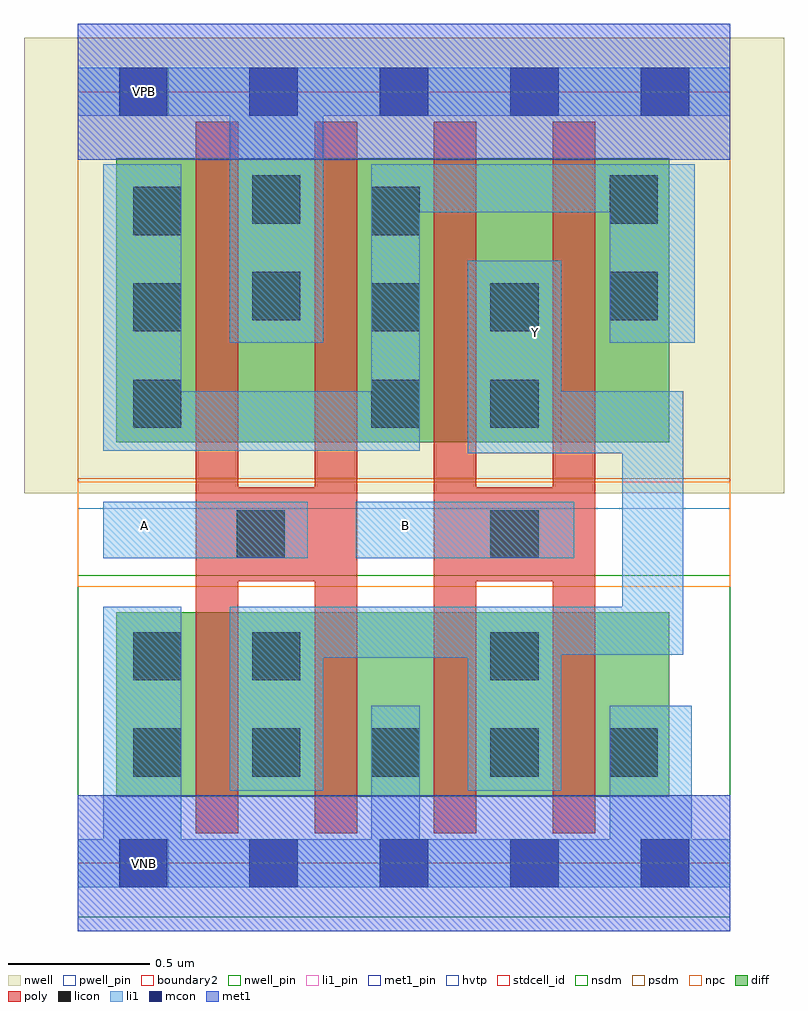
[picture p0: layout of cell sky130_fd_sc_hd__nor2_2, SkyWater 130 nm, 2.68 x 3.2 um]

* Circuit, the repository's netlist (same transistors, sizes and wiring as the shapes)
* Copyright 2020 The SkyWater PDK Authors
*
* Licensed under the Apache License, Version 2.0 (the "License");
* you may not use this file except in compliance with the License.
* You may obtain a copy of the License at
*
*     https://www.apache.org/licenses/LICENSE-2.0
*
* Unless required by applicable law or agreed to in writing, software
* distributed under the License is distributed on an "AS IS" BASIS,
* WITHOUT WARRANTIES OR CONDITIONS OF ANY KIND, either express or implied.
* See the License for the specific language governing permissions and
* limitations under the License.
*
* SPDX-License-Identifier: Apache-2.0


.subckt sky130_fd_sc_hd__nor2_2 A B VGND VNB VPB VPWR Y
X0 Y B VGND VNB sky130_fd_pr__nfet_01v8 w=650000u l=150000u
X1 VPWR A a_27_297# VPB sky130_fd_pr__pfet_01v8_hvt w=1 l=150000u
X2 Y B a_27_297# VPB sky130_fd_pr__pfet_01v8_hvt w=1 l=150000u
X3 VGND B Y VNB sky130_fd_pr__nfet_01v8 w=650000u l=150000u
X4 a_27_297# B Y VPB sky130_fd_pr__pfet_01v8_hvt w=1 l=150000u
X5 a_27_297# A VPWR VPB sky130_fd_pr__pfet_01v8_hvt w=1 l=150000u
X6 VGND A Y VNB sky130_fd_pr__nfet_01v8 w=650000u l=150000u
X7 Y A VGND VNB sky130_fd_pr__nfet_01v8 w=650000u l=150000u
.ends

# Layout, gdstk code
import gdstk
lib = gdstk.Library(unit=1e-6, precision=1e-09)
def R(c, l, rs):  # rectangles x0, y0, x1, y1
    for r in rs: c.add(gdstk.rectangle(r[:2], r[2:], *l))
def A(c, l, x, y, w, h, nx, ny, dx, dy):  # array of equal rectangles
    R(c, l, [(x+i*dx, y+j*dy, x+i*dx+w, y+j*dy+h) for i in range(nx) for j in range(ny)])
def P(c, l, *ps):  # polygons
    for p in ps: c.add(gdstk.Polygon(p, *l))
nwell_pin = (64, 16)
nwell = (64, 20)
diff = (65, 20)
poly = (66, 20)
licon = (66, 44)
li1_pin = (67, 16)
li1 = (67, 20)
mcon = (67, 44)
met1_pin = (68, 16)
met1 = (68, 20)
hvtp = (78, 44)
stdcell_id = (81, 4)
nsdm = (93, 44)
psdm = (94, 20)
npc = (95, 20)
pwell_pin = (122, 16)
boundary2 = (236, 0)

sky130_fd_sc_hd__nor2_2 = lib.new_cell('sky130_fd_sc_hd__nor2_2')
R(sky130_fd_sc_hd__nor2_2, nwell_pin, [(0.15,2.635,0.32,2.805)])
R(sky130_fd_sc_hd__nor2_2, nwell, [(-0.19,1.305,2.49,2.91)])
R(sky130_fd_sc_hd__nor2_2, diff, [(0.135,0.235,2.085,0.885), (0.135,1.485,2.085,2.485)])
P(sky130_fd_sc_hd__nor2_2, poly, [(0.415,0.105),(0.415,2.615),(0.565,2.615),(0.565,1.325),(0.835,1.325),(0.835,2.615),(0.985,2.615),(0.985,0.105),(0.835,0.105),(0.835,0.995),(0.565,0.995),(0.565,0.105)],
  [(1.255,0.105),(1.255,2.615),(1.405,2.615),(1.405,1.325),(1.675,1.325),(1.675,2.615),(1.825,2.615),(1.825,0.105),(1.675,0.105),(1.675,0.995),(1.405,0.995),(1.405,0.105)])
A(sky130_fd_sc_hd__nor2_2, licon, 0.195, 0.305, 0.17, 0.17, 5, 1, 0.42, 0)
A(sky130_fd_sc_hd__nor2_2, licon, 0.195, 1.535, 0.17, 0.17, 1, 3, 0, 0.34)
A(sky130_fd_sc_hd__nor2_2, licon, 1.035, 1.535, 0.17, 0.17, 1, 3, 0, 0.34)
R(sky130_fd_sc_hd__nor2_2, licon, [(0.195,0.645,0.365,0.815), (0.615,0.645,0.785,0.815), (1.455,0.645,1.625,0.815), (0.56,1.075,0.73,1.245), (1.455,1.075,1.625,1.245), (1.455,1.535,1.625,1.705), (1.455,1.875,1.625,2.045), (0.615,1.915,0.785,2.085), (1.875,1.915,2.045,2.085), (0.615,2.255,0.785,2.425), (1.875,2.255,2.045,2.425)])
R(sky130_fd_sc_hd__nor2_2, li1_pin, [(0.09,1.075,0.81,1.275), (0.98,1.075,1.75,1.275), (1.375,1.445,1.705,2.125)])
R(sky130_fd_sc_hd__nor2_2, li1, [(0.09,1.075,0.81,1.275), (0.98,1.075,1.75,1.275)])
P(sky130_fd_sc_hd__nor2_2, li1, [(0,-0.085),(0,0.085),(0.09,0.085),(0.09,0.905),(0.365,0.905),(0.365,0.085),(1.035,0.085),(1.035,0.555),(1.205,0.555),(1.205,0.085),(1.875,0.085),(1.875,0.555),(2.165,0.555),(2.165,0.085),(2.3,0.085),(2.3,-0.085)],
  [(0.535,1.835),(0.535,2.635),(0,2.635),(0,2.805),(2.3,2.805),(2.3,2.635),(0.865,2.635),(0.865,1.835)],
  [(0.535,0.255),(0.535,0.905),(1.92,0.905),(1.92,1.445),(1.375,1.445),(1.375,2.125),(1.705,2.125),(1.705,1.665),(2.135,1.665),(2.135,0.735),(1.705,0.735),(1.705,0.255),(1.375,0.255),(1.375,0.725),(0.865,0.725),(0.865,0.255)],
  [(0.09,1.455),(0.09,2.465),(0.365,2.465),(0.365,1.665),(1.035,1.665),(1.035,2.465),(2.175,2.465),(2.175,1.835),(1.875,1.835),(1.875,2.295),(1.205,2.295),(1.205,1.455)])
A(sky130_fd_sc_hd__nor2_2, mcon, 0.145, -0.085, 0.17, 0.17, 5, 2, 0.46, 2.72)
R(sky130_fd_sc_hd__nor2_2, met1_pin, [(0,-0.24,2.3,0.24), (0,2.48,2.3,2.96)])
R(sky130_fd_sc_hd__nor2_2, met1, [(0,-0.24,2.3,0.24), (0,2.48,2.3,2.96)])
R(sky130_fd_sc_hd__nor2_2, hvtp, [(0,1.25,2.3,2.72)])
R(sky130_fd_sc_hd__nor2_2, stdcell_id, [(0,0,2.3,2.72)])
R(sky130_fd_sc_hd__nor2_2, nsdm, [(0,-0.19,2.3,1.015)])
R(sky130_fd_sc_hd__nor2_2, psdm, [(0,1.355,2.3,2.91)])
R(sky130_fd_sc_hd__nor2_2, npc, [(0,0.975,2.3,1.345)])
R(sky130_fd_sc_hd__nor2_2, pwell_pin, [(0.15,-0.085,0.32,0.085)])
R(sky130_fd_sc_hd__nor2_2, boundary2, [(0,0,2.3,2.72)])
sky130_fd_sc_hd__nor2_2.add(gdstk.Label('B', (1.155,1.19), layer=67, texttype=5))
sky130_fd_sc_hd__nor2_2.add(gdstk.Label('Y', (1.615,1.87), layer=67, texttype=5))
sky130_fd_sc_hd__nor2_2.add(gdstk.Label('A', (0.235,1.19), layer=67, texttype=5))
sky130_fd_sc_hd__nor2_2.add(gdstk.Label('VPB', (0.235,2.72), layer=64, texttype=5))
sky130_fd_sc_hd__nor2_2.add(gdstk.Label('VNB', (0.235,0), layer=64, texttype=59))
sky130_fd_sc_hd__nor2_2.add(gdstk.Label('VGND', (0.235,0), layer=68, texttype=5))
sky130_fd_sc_hd__nor2_2.add(gdstk.Label('VPWR', (0.235,2.72), layer=68, texttype=5))

lib.write_gds('sky130_fd_sc_hd__nor2_2.gds')
